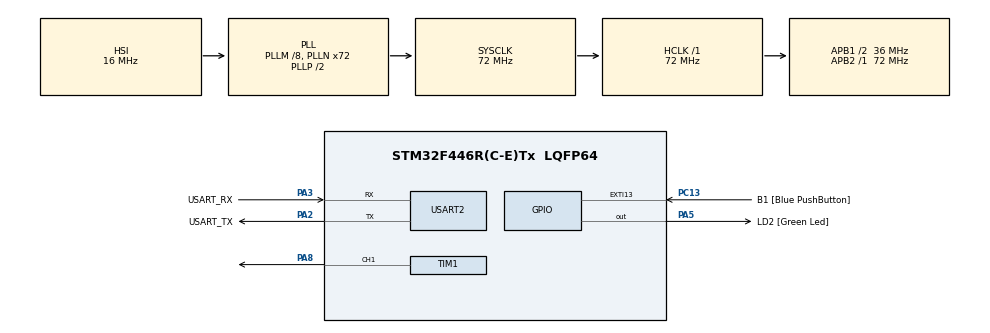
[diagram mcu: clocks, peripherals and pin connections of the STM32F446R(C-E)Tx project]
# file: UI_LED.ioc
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Dma.Request0=TIM1_CH1
Dma.TIM1_CH1.0.Direction=DMA_MEMORY_TO_PERIPH
Dma.TIM1_CH1.0.FIFOMode=DMA_FIFOMODE_DISABLE
Dma.TIM1_CH1.0.Instance=DMA2_Stream1
Dma.TIM1_CH1.0.MemDataAlignment=DMA_MDATAALIGN_HALFWORD
Dma.TIM1_CH1.0.MemInc=DMA_MINC_ENABLE
Dma.TIM1_CH1.0.Mode=DMA_NORMAL
Dma.TIM1_CH1.0.PeriphDataAlignment=DMA_PDATAALIGN_HALFWORD
Dma.TIM1_CH1.0.PeriphInc=DMA_PINC_DISABLE
Dma.TIM1_CH1.0.Priority=DMA_PRIORITY_MEDIUM
Mcu.Family=STM32F4
Mcu.Name=STM32F446R(C-E)Tx
Mcu.Package=LQFP64
NVIC.DMA2_Stream1_IRQn=true\:0\:0\:false\:false\:true\:false\:true\:true
NVIC.EXTI15_10_IRQn=true\:0\:0\:false\:false\:true\:true\:true\:true
NVIC.PriorityGroup=NVIC_PRIORITYGROUP_0
NVIC.USART2_IRQn=true\:0\:0\:false\:false\:true\:true\:true\:true
PA13.GPIO_Label=TMS
PA13.Mode=Serial_Wire
PA13.Signal=SYS_JTMS-SWDIO
PA14.GPIO_Label=TCK
PA14.Mode=Serial_Wire
PA14.Signal=SYS_JTCK-SWCLK
PA2.GPIO_Label=USART_TX
PA2.Mode=Asynchronous
PA2.Signal=USART2_TX
PA3.GPIO_Label=USART_RX
PA3.Mode=Asynchronous
PA3.Signal=USART2_RX
PA5.GPIO_Label=LD2 [Green Led]
PA5.Signal=GPIO_Output
PA8.Signal=S_TIM1_CH1
PB3.GPIO_Label=SWO
PB3.Signal=SYS_JTDO-SWO
PC13.GPIO_Label=B1 [Blue PushButton]
PC13.GPIO_ModeDefaultEXTI=GPIO_MODE_IT_FALLING
PC13.Signal=GPXTI13
PC14-OSC32_IN.Mode=LSE-External-Oscillator
PC14-OSC32_IN.Signal=RCC_OSC32_IN
PC15-OSC32_OUT.Mode=LSE-External-Oscillator
PC15-OSC32_OUT.Signal=RCC_OSC32_OUT
PH0-OSC_IN.Mode=HSE-External-Clock-Source
PH0-OSC_IN.Signal=RCC_OSC_IN
PH1-OSC_OUT.Mode=HSE-External-Clock-Source
PH1-OSC_OUT.Signal=RCC_OSC_OUT
ProjectManager.HeapSize=0x200
ProjectManager.StackSize=0x400
ProjectManager.TargetToolchain=STM32CubeIDE
RCC.48MHZClocksFreq_Value=84000000
RCC.AHBFreq_Value=72000000
RCC.APB1CLKDivider=RCC_HCLK_DIV2
RCC.APB1Freq_Value=36000000
RCC.APB1TimFreq_Value=72000000
RCC.APB2Freq_Value=72000000
RCC.APB2TimFreq_Value=72000000
RCC.CortexFreq_Value=72000000
RCC.FLatency-AdvancedSettings=FLASH_LATENCY_2
RCC.HCLKFreq_Value=72000000
RCC.HSE_VALUE=8000000
RCC.HSI_VALUE=16000000
RCC.PLLM=8
RCC.PLLN=72
RCC.SYSCLKFreq_VALUE=72000000
RCC.SYSCLKSource=RCC_SYSCLKSOURCE_PLLCLK
RCC.USBFreq_Value=72000000
RCC.VCOOutputFreq_Value=144000000
SH.S_TIM1_CH1.0=TIM1_CH1,PWM Generation1 CH1
TIM1.Channel-PWM\ Generation1\ CH1=TIM_CHANNEL_1
TIM1.Period=90-1
USART2.VirtualMode=VM_ASYNC
VP_TIM1_VS_ClockSourceINT.Mode=Internal
board=NUCLEO-F446RE

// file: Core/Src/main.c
/* USER CODE BEGIN Header */
/**
  ******************************************************************************
  * @file           : main.c
  * @brief          : Main program body
  ******************************************************************************
  * @attention
  *
  * Copyright (c) 2025 STMicroelectronics.
  * All rights reserved.
  *
  * This software is licensed under terms that can be found in the LICENSE file
  * in the root directory of this software component.
  * If no LICENSE file comes with this software, it is provided AS-IS.
  *
  ******************************************************************************
  */
/* USER CODE END Header */
#include "main.h"

/* USER CODE BEGIN Includes */
#include "math.h"
#include <string.h>
#include <stdio.h>
#include "math.h"
#include "stm32f4xx_hal.h"
#include "stm32f4xx.h"
/* USER CODE END Includes */

TIM_HandleTypeDef htim1;
DMA_HandleTypeDef hdma_tim1_ch1;

UART_HandleTypeDef huart2;

/* USER CODE BEGIN PV */
//UART VARIABLES
char tx_data[] = "WHAT LED DO YOU NEED\r\n";
char rx_data[1]; //CHNAGE BACK TO 6
char hold_rx[16];
char temp_buffer[12];
int exit = 0;
int n = 0;
//LED VARIABLE
#define MAX_LED 36*2
#define USE_BRIGHTNESS 1

uint8_t LED_Data[MAX_LED][4];// a 2 dimension array that stores the 37 list and each of the 37 list hold an array with size  = 4;
uint8_t LED_Mod[MAX_LED][4];
/* USER CODE END PV */

void SystemClock_Config(void);
static void MX_GPIO_Init(void);
static void MX_DMA_Init(void);
static void MX_USART2_UART_Init(void);
static void MX_TIM1_Init(void);

/* USER CODE BEGIN 0 */
int datasentflag = 0;

void HAL_TIM_PWM_PulseFinishedCallback(TIM_HandleTypeDef *htim){
	// this ensure that the PWM is sent just once and once set sets back flat

	HAL_TIM_PWM_Stop_DMA(&htim1, TIM_CHANNEL_1);
	datasentflag=1;
//	HAL_Delay(1000);
//	NVIC_SystemReset();
}

void Set_LED (int LEDnum, int Red, int Green, int Blue)
{
	// set the second order array to place the order that follows the data sheet.
	// this set the data to be
	LED_Data[LEDnum][0] = LEDnum;
	LED_Data[LEDnum][1] = Green;
	LED_Data[LEDnum][2] = Red;
	LED_Data[LEDnum][3] = Blue;
}

#define PI 3.14159265

void Set_Brightness (int brightness)  // 0-45
{
#if USE_BRIGHTNESS

	if (brightness > 45) brightness = 45;
	for (int i=0; i<MAX_LED; i++)
	{
		LED_Mod[i][0] = LED_Data[i][0];
		for (int j=1; j<4; j++)
		{
			float angle = 90-brightness;  // in degrees
			angle = angle*PI / 180;  // in rad
			LED_Mod[i][j] = (LED_Data[i][j])/(tan(angle));
		}
	}

#endif

}

uint16_t pwmData[(24*MAX_LED)+50];

void WS2812_Send (void)
{
	uint32_t indx=0;
	uint32_t color;

	for (int i= 0; i<MAX_LED; i++)
	{
//#if USE_BRIGHTNESS
	//	color = ((LED_Mod[i][1]<<16) | (LED_Mod[i][2]<<8) | (LED_Mod[i][3]));
//#else
		color = ((LED_Data[i][1]<<16) | (LED_Data[i][2]<<8) | (LED_Data[i][3]));
		//color is a 32bit signed integer we will using the 24 LSB
		// the let of the colors is a list of 24. ranging from 23-0. LED_Data[i][1]<<16 cotrols green. LED_Data[i][2]<<16 controls red. LED_Data[i][2]<<16 blue
//#endif

		for (int j=23; j>=0; j--)
		{
			// these controls the each data point, the period if at the instance the value is 2'b1 the period will be
			if (color&(1<<j))
			{
				pwmData[indx] = 60;  // 2/3 of 90
			}

			else pwmData[indx] = 30;  // 1/3 of 90

			indx++;
		}
		// this nest loop will run for MAX_lED size(72) x 24. note this is where we get the first set of the array for pwmData size from.
		//the LED gives the first 24bit to ledindex [0] and the next 24 bit to index 1 in the order to it reaches the end.

	}

	for (int i=0; i<50; i++)
	{
		pwmData[indx] = 0;
		indx++;
	}
	// once the loop above is completed this loop tells the LED that we are don sending DATA. VERY important.

	HAL_TIM_PWM_Start_DMA(&htim1, TIM_CHANNEL_1, (uint32_t *)pwmData, indx);
	//while (!datasentflag){};
	//datasentflag = 0;
}

/* USER CODE END 0 */

int main(void)
{

  /* MCU Configuration--------------------------------------------------------*/

  /* Reset of all peripherals, Initializes the Flash interface and the Systick. */
  HAL_Init();

  /* Configure the system clock */
  SystemClock_Config();

  /* Initialize all configured peripherals */
  MX_GPIO_Init();
  MX_DMA_Init();
  MX_USART2_UART_Init();
  MX_TIM1_Init();
  /* USER CODE BEGIN 2 */
  HAL_UART_Transmit(&huart2, tx_data, sizeof(tx_data), HAL_MAX_DELAY);

  //LED CONTROLLER
  Set_LED(MAX_LED-2,255,0,0);
    Set_LED(0,25,100,0);
    //Set_LED(2,105,100,0);
    //Set_Brightness(45);
    WS2812_Send();

  /* USER CODE END 2 */

  /* Infinite loop */
  while (1)
  {

    /* USER CODE BEGIN 3 */
	  HAL_UART_Receive_IT(&huart2, rx_data, sizeof(rx_data));
  }
  /* USER CODE END 3 */
}

void SystemClock_Config(void)
{
  RCC_OscInitTypeDef RCC_OscInitStruct = {0};
  RCC_ClkInitTypeDef RCC_ClkInitStruct = {0};

  /** Configure the main internal regulator output voltage
  */
  __HAL_RCC_PWR_CLK_ENABLE();
  __HAL_PWR_VOLTAGESCALING_CONFIG(PWR_REGULATOR_VOLTAGE_SCALE3);

  /** Initializes the RCC Oscillators according to the specified parameters
  * in the RCC_OscInitTypeDef structure.
  */
  RCC_OscInitStruct.OscillatorType = RCC_OSCILLATORTYPE_HSI;
  RCC_OscInitStruct.HSIState = RCC_HSI_ON;
  RCC_OscInitStruct.HSICalibrationValue = RCC_HSICALIBRATION_DEFAULT;
  RCC_OscInitStruct.PLL.PLLState = RCC_PLL_ON;
  RCC_OscInitStruct.PLL.PLLSource = RCC_PLLSOURCE_HSI;
  RCC_OscInitStruct.PLL.PLLM = 8;
  RCC_OscInitStruct.PLL.PLLN = 72;
  RCC_OscInitStruct.PLL.PLLP = RCC_PLLP_DIV2;
  RCC_OscInitStruct.PLL.PLLQ = 2;
  RCC_OscInitStruct.PLL.PLLR = 2;
  if (HAL_RCC_OscConfig(&RCC_OscInitStruct) != HAL_OK)
  {
    Error_Handler();
  }

  /** Initializes the CPU, AHB and APB buses clocks
  */
  RCC_ClkInitStruct.ClockType = RCC_CLOCKTYPE_HCLK|RCC_CLOCKTYPE_SYSCLK
                              |RCC_CLOCKTYPE_PCLK1|RCC_CLOCKTYPE_PCLK2;
  RCC_ClkInitStruct.SYSCLKSource = RCC_SYSCLKSOURCE_PLLCLK;
  RCC_ClkInitStruct.AHBCLKDivider = RCC_SYSCLK_DIV1;
  RCC_ClkInitStruct.APB1CLKDivider = RCC_HCLK_DIV2;
  RCC_ClkInitStruct.APB2CLKDivider = RCC_HCLK_DIV1;

  if (HAL_RCC_ClockConfig(&RCC_ClkInitStruct, FLASH_LATENCY_2) != HAL_OK)
  {
    Error_Handler();
  }
}

static void MX_TIM1_Init(void)
{

  TIM_ClockConfigTypeDef sClockSourceConfig = {0};
  TIM_MasterConfigTypeDef sMasterConfig = {0};
  TIM_OC_InitTypeDef sConfigOC = {0};
  TIM_BreakDeadTimeConfigTypeDef sBreakDeadTimeConfig = {0};

  htim1.Instance = TIM1;
  htim1.Init.Prescaler = 0;
  htim1.Init.CounterMode = TIM_COUNTERMODE_UP;
  htim1.Init.Period = 90-1;
  htim1.Init.ClockDivision = TIM_CLOCKDIVISION_DIV1;
  htim1.Init.RepetitionCounter = 0;
  htim1.Init.AutoReloadPreload = TIM_AUTORELOAD_PRELOAD_DISABLE;
  if (HAL_TIM_Base_Init(&htim1) != HAL_OK)
  {
    Error_Handler();
  }
  sClockSourceConfig.ClockSource = TIM_CLOCKSOURCE_INTERNAL;
  if (HAL_TIM_ConfigClockSource(&htim1, &sClockSourceConfig) != HAL_OK)
  {
    Error_Handler();
  }
  if (HAL_TIM_PWM_Init(&htim1) != HAL_OK)
  {
    Error_Handler();
  }
  sMasterConfig.MasterOutputTrigger = TIM_TRGO_RESET;
  sMasterConfig.MasterSlaveMode = TIM_MASTERSLAVEMODE_DISABLE;
  if (HAL_TIMEx_MasterConfigSynchronization(&htim1, &sMasterConfig) != HAL_OK)
  {
    Error_Handler();
  }
  sConfigOC.OCMode = TIM_OCMODE_PWM1;
  sConfigOC.Pulse = 0;
  sConfigOC.OCPolarity = TIM_OCPOLARITY_HIGH;
  sConfigOC.OCNPolarity = TIM_OCNPOLARITY_HIGH;
  sConfigOC.OCFastMode = TIM_OCFAST_DISABLE;
  sConfigOC.OCIdleState = TIM_OCIDLESTATE_RESET;
  sConfigOC.OCNIdleState = TIM_OCNIDLESTATE_RESET;
  if (HAL_TIM_PWM_ConfigChannel(&htim1, &sConfigOC, TIM_CHANNEL_1) != HAL_OK)
  {
    Error_Handler();
  }
  sBreakDeadTimeConfig.OffStateRunMode = TIM_OSSR_DISABLE;
  sBreakDeadTimeConfig.OffStateIDLEMode = TIM_OSSI_DISABLE;
  sBreakDeadTimeConfig.LockLevel = TIM_LOCKLEVEL_OFF;
  sBreakDeadTimeConfig.DeadTime = 0;
  sBreakDeadTimeConfig.BreakState = TIM_BREAK_DISABLE;
  sBreakDeadTimeConfig.BreakPolarity = TIM_BREAKPOLARITY_HIGH;
  sBreakDeadTimeConfig.AutomaticOutput = TIM_AUTOMATICOUTPUT_DISABLE;
  if (HAL_TIMEx_ConfigBreakDeadTime(&htim1, &sBreakDeadTimeConfig) != HAL_OK)
  {
    Error_Handler();
  }
  HAL_TIM_MspPostInit(&htim1);

}

static void MX_USART2_UART_Init(void)
{

  huart2.Instance = USART2;
  huart2.Init.BaudRate = 115200;
  huart2.Init.WordLength = UART_WORDLENGTH_8B;
  huart2.Init.StopBits = UART_STOPBITS_1;
  huart2.Init.Parity = UART_PARITY_NONE;
  huart2.Init.Mode = UART_MODE_TX_RX;
  huart2.Init.HwFlowCtl = UART_HWCONTROL_NONE;
  huart2.Init.OverSampling = UART_OVERSAMPLING_16;
  if (HAL_UART_Init(&huart2) != HAL_OK)
  {
    Error_Handler();
  }

}

static void MX_DMA_Init(void)
{

  /* DMA controller clock enable */
  __HAL_RCC_DMA2_CLK_ENABLE();

  /* DMA interrupt init */
  /* DMA2_Stream1_IRQn interrupt configuration */
  HAL_NVIC_SetPriority(DMA2_Stream1_IRQn, 0, 0);
  HAL_NVIC_EnableIRQ(DMA2_Stream1_IRQn);

}

static void MX_GPIO_Init(void)
{
  GPIO_InitTypeDef GPIO_InitStruct = {0};

  /* GPIO Ports Clock Enable */
  __HAL_RCC_GPIOC_CLK_ENABLE();
  __HAL_RCC_GPIOH_CLK_ENABLE();
  __HAL_RCC_GPIOA_CLK_ENABLE();
  __HAL_RCC_GPIOB_CLK_ENABLE();

  /*Configure GPIO pin Output Level */
  HAL_GPIO_WritePin(LD2_GPIO_Port, LD2_Pin, GPIO_PIN_RESET);

  /*Configure GPIO pin : B1_Pin */
  GPIO_InitStruct.Pin = B1_Pin;
  GPIO_InitStruct.Mode = GPIO_MODE_IT_FALLING;
  GPIO_InitStruct.Pull = GPIO_NOPULL;
  HAL_GPIO_Init(B1_GPIO_Port, &GPIO_InitStruct);

  /*Configure GPIO pin : LD2_Pin */
  GPIO_InitStruct.Pin = LD2_Pin;
  GPIO_InitStruct.Mode = GPIO_MODE_OUTPUT_PP;
  GPIO_InitStruct.Pull = GPIO_NOPULL;
  GPIO_InitStruct.Speed = GPIO_SPEED_FREQ_LOW;
  HAL_GPIO_Init(LD2_GPIO_Port, &GPIO_InitStruct);

  /* EXTI interrupt init*/
  HAL_NVIC_SetPriority(EXTI15_10_IRQn, 0, 0);
  HAL_NVIC_EnableIRQ(EXTI15_10_IRQn);

}

/* USER CODE BEGIN 4 */
void HAL_UART_RxCpltCallback(UART_HandleTypeDef *huart)
{
 /* Prevent unused argument(s) compilation warning */
 UNUSED(huart);
 /* NOTE: This function should not be modified, when the callback is needed,
          the HAL_UART_RxCpltCallback could be implemented in the user file
  */

// if(!strcmp(rx_data, "LEDOFF" )){
// 	 HAL_GPIO_WritePin(GPIOA, GPIO_PIN_5, RESET);
// }
// HAL_UART_Transmit(&huart2, rx_data, sizeof(rx_data), HAL_MAX_DELAY);
// if(n > 0){
//       	datasentflag = 0;
//       	NVIC_SystemReset();
//       	n = 0;
//       }
 if(!strcmp(rx_data, " " )){
	 //HAL_Delay(1000);
	 NVIC_SystemReset();
 }

 static int index = 0;
  //hold_rx[100];
 if(!strcmp(rx_data, " " )){

  	 strncpy(temp_buffer, hold_rx, index);

  	 convert_to_int(temp_buffer);
  	 index = 0;// RESET THE BUFFER

  	///NVIC_SystemReset();
  	 //exit = 1;
 }
 else if(!strcmp(rx_data, "\r" )){

 	 strncpy(temp_buffer, hold_rx, index);

 	 convert_to_int(temp_buffer);
 	 index = 0;// RESET THE BUFFER

 	///NVIC_SystemReset();
 	 //exit = 1;

  }
  else{
 	 hold_rx[index] = *rx_data;
 	 index++;
 	 memset(temp_buffer,0,sizeof(temp_buffer));
 	 //exit = 0;
  }
  HAL_UART_Transmit(&huart2, rx_data, sizeof(*rx_data), HAL_MAX_DELAY);
}

void convert_to_int(const char* hold_rx){
	if(!(strcmp(hold_rx, "10K"))){
		HAL_GPIO_TogglePin(GPIOA, GPIO_PIN_5);
		Set_LED(9,25,100,0);
		Set_LED(10,25,100,0);
		Set_LED(11,25,100,0);
		WS2812_Send();
		//n++;

	}
	if(!(strcmp(hold_rx, "100K"))){
		//HAL_GPIO_TogglePin(GPIOA, GPIO_PIN_5);
		Set_LED(12,25,100,0);
		Set_LED(13,25,100,0);
		Set_LED(14,25,100,0);
		WS2812_Send();
		//n++;
	}
	if(!(strcmp(hold_rx, "120K"))){
			//HAL_GPIO_TogglePin(GPIOA, GPIO_PIN_5);
			Set_LED(15,25,100,0);
			Set_LED(16,25,100,0);
			Set_LED(17,25,100,0);
			WS2812_Send();
			//n++;
	}
	if(!(strcmp(hold_rx, "150K"))){
			//HAL_GPIO_TogglePin(GPIOA, GPIO_PIN_5);
			Set_LED(18,25,100,0);
			Set_LED(19,25,100,0);
			Set_LED(20,25,100,0);
			WS2812_Send();
			//n++;
	}
	if(!(strcmp(hold_rx, "200K"))){
			//HAL_GPIO_TogglePin(GPIOA, GPIO_PIN_5);
			Set_LED(21,25,100,0);
			Set_LED(23,25,100,0);
			Set_LED(22,25,100,0);
			WS2812_Send();
			//n++;
	}

}

/* USER CODE END 4 */

void Error_Handler(void)
{
  __disable_irq();
  while (1)
  {
  }
}
